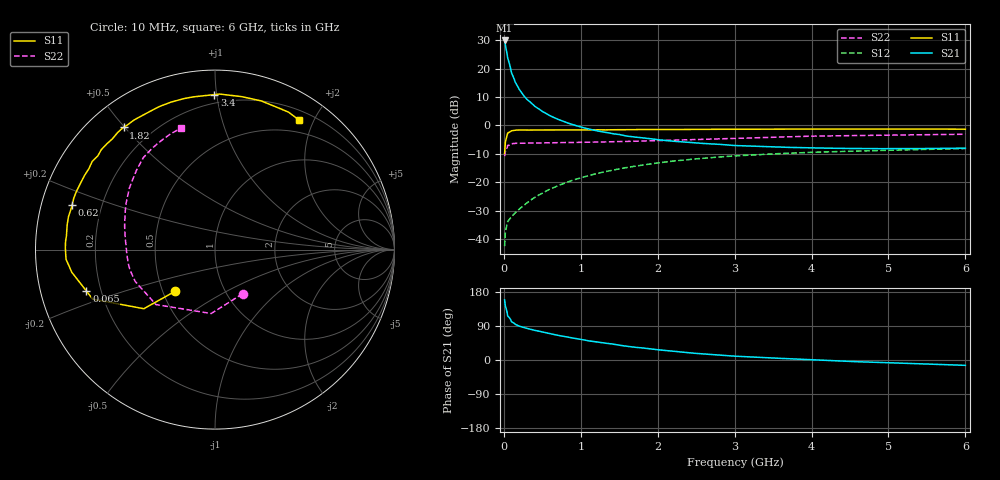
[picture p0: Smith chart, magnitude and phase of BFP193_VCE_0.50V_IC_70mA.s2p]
! Infineon Technologies  Discrete & RF Semiconductors
! BFP193
! VCE = 0.50V,  IC =  70 mA
! Common Emitter S-Parameters:  Jan 2016
# GHz  S  MA  R  50
!  f  S11  S21  S12  S22
! GHz  MAG  ANG  MAG  ANG  MAG  ANG  MAG  ANG
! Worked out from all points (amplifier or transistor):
!   210 points, 10 MHz to 6 GHz, reference 50 ohm
!   highest |S21| = 29.9 dB at 10 MHz (marker M1)
!   |S21| within 3 dB of that: start of sweep to 30.28 MHz
!   unconditionally stable (mu >= 1): start of sweep to 24.31 MHz; 150.1 MHz to end of sweep
!   at 185 MHz: K = 1.09, MAG = 19.8 dB, |S12| = -29.7 dB
!   at 1.52 GHz: K = 1.32, MAG = 2.5 dB, |S12| = -15.1 dB
!   at 6 GHz: K = 1.10, MAG = -1.8 dB, |S12| = -8.1 dB
!   S11 on the Smith chart (normalised r, x): 10 MHz: 0.58, -0.30; 65 MHz: 0.14, -0.15; 620 MHz: 0.09, +0.15; 1.82 GHz: 0.10, +0.50; 3.4 GHz: 0.15, +0.99; 6 GHz: 0.32, +1.80
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0.01  0.3228 -133.8  31.15 158.7  0.0076 57.5  0.2903 -57.9
0.02  0.5155 -140.3  26.14 141.9  0.0134 51.6  0.3567 -93.4
0.05  0.7351 -157.9  15.38 116.2  0.0205 41.0  0.4493 -137.0
0.065  0.7526 -162.1  13.21 113.3  0.0218 41.1  0.4514 -143.6
0.1  0.8078 -171.0  8.386 101.0  0.025 41.4  0.4787 -158.2
0.15  0.8317 -176.3  5.7 94.0  0.0295 45.8  0.487 -166.2
0.2  0.8335 179.8  4.32 89.3  0.034 50.0  0.4888 -170.4
0.24  0.834 177.6  3.616 86.6  0.0377 53.3  0.4897 -172.8
0.3  0.8312 174.8  2.878 83.2  0.0436 56.7  0.4909 -175.3
0.4  0.835 170.5  2.186 78.2  0.0544 59.6  0.4927 -178.3
0.5  0.8367 167.4  1.768 73.9  0.0648 61.5  0.4942 179.5
0.62  0.8337 162.7  1.445 68.6  0.0784 62.0  0.4956 177.4
0.8  0.8373 157.2  1.141 61.5  0.0983 61.3  0.5002 174.6
1.02  0.8356 149.8  0.925 53.8  0.1227 59.3  0.5062 171.4
1.3  0.836 141.4  0.763 44.8  0.1529 55.7  0.5146 167.4
1.82  0.8501 126.8  0.604 31.4  0.2039 47.5  0.5329 160.1
2.02  0.8511 121.5  0.56 26.7  0.2217 44.1  0.5432 157.1
3.1  0.859 96.0  0.44 9.1  0.297 26.7  0.5997 140.3
3.4  0.8635 90.2  0.425 6.1  0.3129 22.4  0.6158 136.1
4.1  0.8645 78.6  0.402 -0.1  0.3414 12.7  0.6521 126.6
5.1  0.865 66.1  0.392 -7.9  0.3697 1.2  0.6794 115.1
6  0.8605 57.0  0.4 -14.1  0.3941 -8.5  0.7022 105.7
